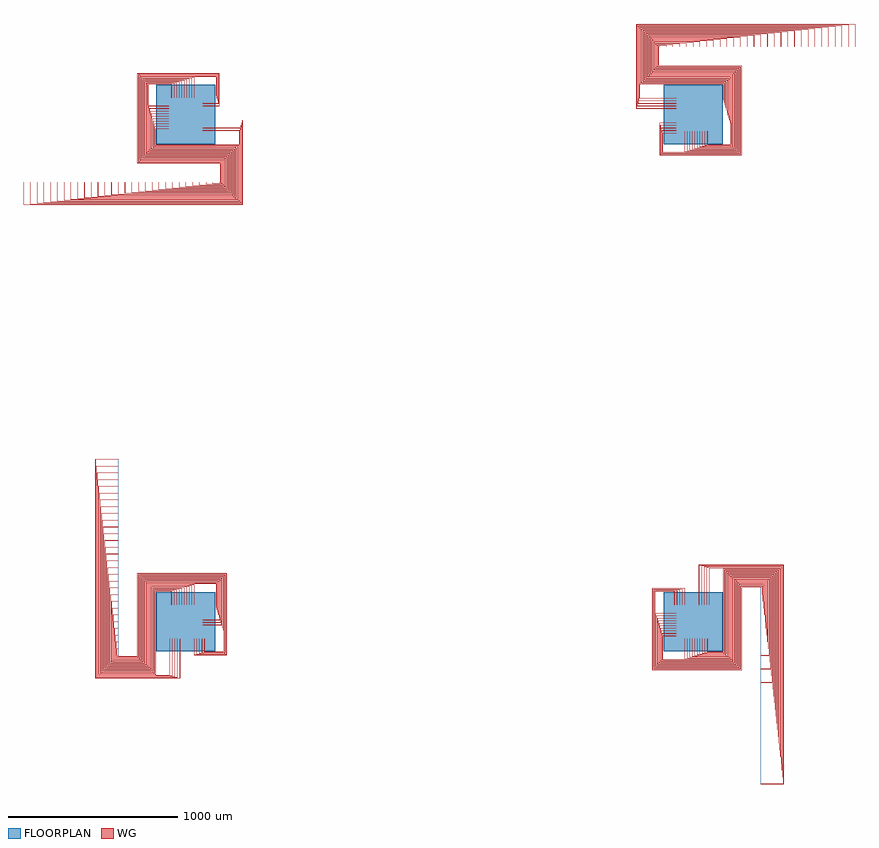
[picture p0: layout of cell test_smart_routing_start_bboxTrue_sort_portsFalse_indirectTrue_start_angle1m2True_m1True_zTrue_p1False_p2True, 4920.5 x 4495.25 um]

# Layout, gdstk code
import gdstk
lib = gdstk.Library(unit=1e-6, precision=1e-09)
def R(c, l, rs):  # rectangles x0, y0, x1, y1
    for r in rs: c.add(gdstk.rectangle(r[:2], r[2:], *l))
def P(c, l, *ps):  # polygons
    for p in ps: c.add(gdstk.Polygon(p, *l))
WG = (1, 0)
FLOORPLAN = (10, 0)

test_smart_routing_start = lib.new_cell('test_smart_routing_start_bboxTrue_sort_portsFalse_indirectTrue_start_angle1m2True_m1True_zTrue_p1False_p2True')
P(test_smart_routing_start, WG, [(2802.5,2757.5),(2802.5,2950.25),(2900,2950.25),(2900,2949.75),(2803,2949.75),(2803,2758),(3287,2758),(3287,3287),(2795.25,3287),(2795.25,3404.5),(2800.25,3404.5),(2800.25,3400),(2799.75,3400),(2799.75,3404),(2795.75,3404),(2795.75,3287.5),(3287.5,3287.5),(3287.5,2757.5)],
  [(2807,2762),(2807,2935.25),(2900,2935.25),(2900,2934.75),(2807.5,2934.75),(2807.5,2762.5),(3282.5,2762.5),(3282.5,3282.5),(2790.75,3282.5),(2790.75,3409),(2840.25,3409),(2840.25,3400),(2839.75,3400),(2839.75,3408.5),(2791.25,3408.5),(2791.25,3283),(3283,3283),(3283,2762)],
  [(2811.5,2766.5),(2811.5,2920.25),(2900,2920.25),(2900,2919.75),(2812,2919.75),(2812,2767),(3278,2767),(3278,3278),(2786.25,3278),(2786.25,3413.5),(2880.25,3413.5),(2880.25,3400),(2879.75,3400),(2879.75,3413),(2786.75,3413),(2786.75,3278.5),(3278.5,3278.5),(3278.5,2766.5)],
  [(2816,2771),(2816,2905.25),(2900,2905.25),(2900,2904.75),(2816.5,2904.75),(2816.5,2771.5),(3273.5,2771.5),(3273.5,3273.5),(2781.75,3273.5),(2781.75,3418),(2920.25,3418),(2920.25,3400),(2919.75,3400),(2919.75,3417.5),(2782.25,3417.5),(2782.25,3274),(3274,3274),(3274,2771)],
  [(2820.5,2775.5),(2820.5,2890.25),(2900,2890.25),(2900,2889.75),(2821,2889.75),(2821,2776),(3269,2776),(3269,3269),(2777.25,3269),(2777.25,3422.5),(2960.25,3422.5),(2960.25,3400),(2959.75,3400),(2959.75,3422),(2777.75,3422),(2777.75,3269.5),(3269.5,3269.5),(3269.5,2775.5)],
  [(2949.75,2780),(2949.75,2900),(2950.25,2900),(2950.25,2780.5),(3264.5,2780.5),(3264.5,3264.5),(2772.75,3264.5),(2772.75,3427),(3000.25,3427),(3000.25,3400),(2999.75,3400),(2999.75,3426.5),(2773.25,3426.5),(2773.25,3265),(3265,3265),(3265,2780)],
  [(2964.75,2784.5),(2964.75,2900),(2965.25,2900),(2965.25,2785),(3260,2785),(3260,3260),(2768.25,3260),(2768.25,3431.5),(3040.25,3431.5),(3040.25,3400),(3039.75,3400),(3039.75,3431),(2768.75,3431),(2768.75,3260.5),(3260.5,3260.5),(3260.5,2784.5)],
  [(2979.75,2789),(2979.75,2900),(2980.25,2900),(2980.25,2789.5),(3255.5,2789.5),(3255.5,3255.5),(2763.75,3255.5),(2763.75,3436),(3080.25,3436),(3080.25,3400),(3079.75,3400),(3079.75,3435.5),(2764.25,3435.5),(2764.25,3256),(3256,3256),(3256,2789)],
  [(2994.75,2793.5),(2994.75,2900),(2995.25,2900),(2995.25,2794),(3251,2794),(3251,3251),(2759.25,3251),(2759.25,3440.5),(3120.25,3440.5),(3120.25,3400),(3119.75,3400),(3119.75,3440),(2759.75,3440),(2759.75,3251.5),(3251.5,3251.5),(3251.5,2793.5)],
  [(3009.75,2798),(3009.75,2900),(3010.25,2900),(3010.25,2798.5),(3246.5,2798.5),(3246.5,3246.5),(2754.75,3246.5),(2754.75,3445),(3160.25,3445),(3160.25,3400),(3159.75,3400),(3159.75,3444.5),(2755.25,3444.5),(2755.25,3247),(3247,3247),(3247,2798)],
  [(3024.75,2802.5),(3024.75,2900),(3025.25,2900),(3025.25,2803),(3242,2803),(3242,3242),(2750.25,3242),(2750.25,3449.5),(3200.25,3449.5),(3200.25,3400),(3199.75,3400),(3199.75,3449),(2750.75,3449),(2750.75,3242.5),(3242.5,3242.5),(3242.5,2802.5)],
  [(3039.75,2807),(3039.75,2900),(3040.25,2900),(3040.25,2807.5),(3237.5,2807.5),(3237.5,3237.5),(2745.75,3237.5),(2745.75,3454),(3240.25,3454),(3240.25,3400),(3239.75,3400),(3239.75,3453.5),(2746.25,3453.5),(2746.25,3238),(3238,3238),(3238,2807)],
  [(3054.75,2811.5),(3054.75,2900),(3055.25,2900),(3055.25,2812),(3233,2812),(3233,3233),(2741.25,3233),(2741.25,3458.5),(3280.25,3458.5),(3280.25,3400),(3279.75,3400),(3279.75,3458),(2741.75,3458),(2741.75,3233.5),(3233.5,3233.5),(3233.5,2811.5)],
  [(3069.75,2816),(3069.75,2900),(3070.25,2900),(3070.25,2816.5),(3228.5,2816.5),(3228.5,3228.5),(2736.75,3228.5),(2736.75,3463),(3320.25,3463),(3320.25,3400),(3319.75,3400),(3319.75,3462.5),(2737.25,3462.5),(2737.25,3229),(3229,3229),(3229,2816)],
  [(3084.75,2820.5),(3084.75,2900),(3085.25,2900),(3085.25,2821),(3224,2821),(3224,3224),(2732.25,3224),(2732.25,3467.5),(3360.25,3467.5),(3360.25,3400),(3359.75,3400),(3359.75,3467),(2732.75,3467),(2732.75,3224.5),(3224.5,3224.5),(3224.5,2820.5)],
  [(3100,2949.75),(3100,2950.25),(3219.5,2950.25),(3219.5,3219.5),(2727.75,3219.5),(2727.75,3472),(3400.25,3472),(3400.25,3400),(3399.75,3400),(3399.75,3471.5),(2728.25,3471.5),(2728.25,3220),(3220,3220),(3220,2949.75)],
  [(3100,2964.75),(3100,2965.25),(3215,2965.25),(3215,3215),(2723.25,3215),(2723.25,3476.5),(3440.25,3476.5),(3440.25,3400),(3439.75,3400),(3439.75,3476),(2723.75,3476),(2723.75,3215.5),(3215.5,3215.5),(3215.5,2964.75)],
  [(3100,2979.75),(3100,2980.25),(3210.5,2980.25),(3210.5,3210.5),(2718.75,3210.5),(2718.75,3481),(3480.25,3481),(3480.25,3400),(3479.75,3400),(3479.75,3480.5),(2719.25,3480.5),(2719.25,3211),(3211,3211),(3211,2979.75)],
  [(3100,2994.75),(3100,2995.25),(3206,2995.25),(3206,3206),(2714.25,3206),(2714.25,3485.5),(3520.25,3485.5),(3520.25,3400),(3519.75,3400),(3519.75,3485),(2714.75,3485),(2714.75,3206.5),(3206.5,3206.5),(3206.5,2994.75)],
  [(3100,3009.75),(3100,3010.25),(3201.5,3010.25),(3201.5,3201.5),(2709.75,3201.5),(2709.75,3490),(3560.25,3490),(3560.25,3400),(3559.75,3400),(3559.75,3489.5),(2710.25,3489.5),(2710.25,3202),(3202,3202),(3202,3009.75)],
  [(3100,3024.75),(3100,3025.25),(3197,3025.25),(3197,3197),(2705.25,3197),(2705.25,3494.5),(3600.25,3494.5),(3600.25,3400),(3599.75,3400),(3599.75,3494),(2705.75,3494),(2705.75,3197.5),(3197.5,3197.5),(3197.5,3024.75)],
  [(3100,3039.75),(3100,3040.25),(3192.5,3040.25),(3192.5,3192.5),(2700.75,3192.5),(2700.75,3499),(3640.25,3499),(3640.25,3400),(3639.75,3400),(3639.75,3498.5),(2701.25,3498.5),(2701.25,3193),(3193,3193),(3193,3039.75)],
  [(3100,3054.75),(3100,3055.25),(3188,3055.25),(3188,3188),(2696.25,3188),(2696.25,3503.5),(3680.25,3503.5),(3680.25,3400),(3679.75,3400),(3679.75,3503),(2696.75,3503),(2696.75,3188.5),(3188.5,3188.5),(3188.5,3054.75)],
  [(3100,3069.75),(3100,3070.25),(3183.5,3070.25),(3183.5,3183.5),(2691.75,3183.5),(2691.75,3508),(3720.25,3508),(3720.25,3400),(3719.75,3400),(3719.75,3507.5),(2692.25,3507.5),(2692.25,3184),(3184,3184),(3184,3069.75)],
  [(3100,3084.75),(3100,3085.25),(3179,3085.25),(3179,3179),(2687.25,3179),(2687.25,3512.5),(3760.25,3512.5),(3760.25,3400),(3759.75,3400),(3759.75,3512),(2687.75,3512),(2687.75,3179.5),(3179.5,3179.5),(3179.5,3084.75)],
  [(2664.75,3034.75),(2664.75,3535),(3960.25,3535),(3960.25,3400),(3959.75,3400),(3959.75,3534.5),(2665.25,3534.5),(2665.25,3035.25),(2900,3035.25),(2900,3034.75)],
  [(2669.25,3049.75),(2669.25,3530.5),(3920.25,3530.5),(3920.25,3400),(3919.75,3400),(3919.75,3530),(2669.75,3530),(2669.75,3050.25),(2900,3050.25),(2900,3049.75)],
  [(2673.75,3064.75),(2673.75,3526),(3880.25,3526),(3880.25,3400),(3879.75,3400),(3879.75,3525.5),(2674.25,3525.5),(2674.25,3065.25),(2900,3065.25),(2900,3064.75)],
  [(2678.25,3079.75),(2678.25,3521.5),(3840.25,3521.5),(3840.25,3400),(3839.75,3400),(3839.75,3521),(2678.75,3521),(2678.75,3080.25),(2900,3080.25),(2900,3079.75)],
  [(2682.75,3094.75),(2682.75,3517),(3800.25,3517),(3800.25,3400),(3799.75,3400),(3799.75,3516.5),(2683.25,3516.5),(2683.25,3095.25),(2900,3095.25),(2900,3094.75)],
  [(199.75,2595.5),(199.75,2600),(200.25,2600),(200.25,2596),(204.25,2596),(204.25,2712.5),(-287.5,2712.5),(-287.5,3242.5),(197.5,3242.5),(197.5,3049.75),(100,3049.75),(100,3050.25),(197,3050.25),(197,3242),(-287,3242),(-287,2713),(204.75,2713),(204.75,2595.5)],
  [(159.75,2591),(159.75,2600),(160.25,2600),(160.25,2591.5),(208.75,2591.5),(208.75,2717),(-283,2717),(-283,3238),(193,3238),(193,3064.75),(100,3064.75),(100,3065.25),(192.5,3065.25),(192.5,3237.5),(-282.5,3237.5),(-282.5,2717.5),(209.25,2717.5),(209.25,2591)],
  [(119.75,2586.5),(119.75,2600),(120.25,2600),(120.25,2587),(213.25,2587),(213.25,2721.5),(-278.5,2721.5),(-278.5,3233.5),(188.5,3233.5),(188.5,3079.75),(100,3079.75),(100,3080.25),(188,3080.25),(188,3233),(-278,3233),(-278,2722),(213.75,2722),(213.75,2586.5)],
  [(79.75,2582),(79.75,2600),(80.25,2600),(80.25,2582.5),(217.75,2582.5),(217.75,2726),(-274,2726),(-274,3229),(184,3229),(184,3094.75),(100,3094.75),(100,3095.25),(183.5,3095.25),(183.5,3228.5),(-273.5,3228.5),(-273.5,2726.5),(218.25,2726.5),(218.25,2582)],
  [(39.75,2577.5),(39.75,2600),(40.25,2600),(40.25,2578),(222.25,2578),(222.25,2730.5),(-269.5,2730.5),(-269.5,3224.5),(179.5,3224.5),(179.5,3109.75),(100,3109.75),(100,3110.25),(179,3110.25),(179,3224),(-269,3224),(-269,2731),(222.75,2731),(222.75,2577.5)],
  [(-0.25,2573),(-0.25,2600),(0.25,2600),(0.25,2573.5),(226.75,2573.5),(226.75,2735),(-265,2735),(-265,3220),(50.25,3220),(50.25,3100),(49.75,3100),(49.75,3219.5),(-264.5,3219.5),(-264.5,2735.5),(227.25,2735.5),(227.25,2573)],
  [(-40.25,2568.5),(-40.25,2600),(-39.75,2600),(-39.75,2569),(231.25,2569),(231.25,2739.5),(-260.5,2739.5),(-260.5,3215.5),(35.25,3215.5),(35.25,3100),(34.75,3100),(34.75,3215),(-260,3215),(-260,2740),(231.75,2740),(231.75,2568.5)],
  [(-80.25,2564),(-80.25,2600),(-79.75,2600),(-79.75,2564.5),(235.75,2564.5),(235.75,2744),(-256,2744),(-256,3211),(20.25,3211),(20.25,3100),(19.75,3100),(19.75,3210.5),(-255.5,3210.5),(-255.5,2744.5),(236.25,2744.5),(236.25,2564)],
  [(-120.25,2559.5),(-120.25,2600),(-119.75,2600),(-119.75,2560),(240.25,2560),(240.25,2748.5),(-251.5,2748.5),(-251.5,3206.5),(5.25,3206.5),(5.25,3100),(4.75,3100),(4.75,3206),(-251,3206),(-251,2749),(240.75,2749),(240.75,2559.5)],
  [(-160.25,2555),(-160.25,2600),(-159.75,2600),(-159.75,2555.5),(244.75,2555.5),(244.75,2753),(-247,2753),(-247,3202),(-9.75,3202),(-9.75,3100),(-10.25,3100),(-10.25,3201.5),(-246.5,3201.5),(-246.5,2753.5),(245.25,2753.5),(245.25,2555)],
  [(-200.25,2550.5),(-200.25,2600),(-199.75,2600),(-199.75,2551),(249.25,2551),(249.25,2757.5),(-242.5,2757.5),(-242.5,3197.5),(-24.75,3197.5),(-24.75,3100),(-25.25,3100),(-25.25,3197),(-242,3197),(-242,2758),(249.75,2758),(249.75,2550.5)],
  [(-240.25,2546),(-240.25,2600),(-239.75,2600),(-239.75,2546.5),(253.75,2546.5),(253.75,2762),(-238,2762),(-238,3193),(-39.75,3193),(-39.75,3100),(-40.25,3100),(-40.25,3192.5),(-237.5,3192.5),(-237.5,2762.5),(254.25,2762.5),(254.25,2546)],
  [(-280.25,2541.5),(-280.25,2600),(-279.75,2600),(-279.75,2542),(258.25,2542),(258.25,2766.5),(-233.5,2766.5),(-233.5,3188.5),(-54.75,3188.5),(-54.75,3100),(-55.25,3100),(-55.25,3188),(-233,3188),(-233,2767),(258.75,2767),(258.75,2541.5)],
  [(-320.25,2537),(-320.25,2600),(-319.75,2600),(-319.75,2537.5),(262.75,2537.5),(262.75,2771),(-229,2771),(-229,3184),(-69.75,3184),(-69.75,3100),(-70.25,3100),(-70.25,3183.5),(-228.5,3183.5),(-228.5,2771.5),(263.25,2771.5),(263.25,2537)],
  [(-360.25,2532.5),(-360.25,2600),(-359.75,2600),(-359.75,2533),(267.25,2533),(267.25,2775.5),(-224.5,2775.5),(-224.5,3179.5),(-84.75,3179.5),(-84.75,3100),(-85.25,3100),(-85.25,3179),(-224,3179),(-224,2776),(267.75,2776),(267.75,2532.5)],
  [(-400.25,2528),(-400.25,2600),(-399.75,2600),(-399.75,2528.5),(271.75,2528.5),(271.75,2780),(-220,2780),(-220,3050.25),(-100,3050.25),(-100,3049.75),(-219.5,3049.75),(-219.5,2780.5),(272.25,2780.5),(272.25,2528)],
  [(-440.25,2523.5),(-440.25,2600),(-439.75,2600),(-439.75,2524),(276.25,2524),(276.25,2784.5),(-215.5,2784.5),(-215.5,3035.25),(-100,3035.25),(-100,3034.75),(-215,3034.75),(-215,2785),(276.75,2785),(276.75,2523.5)],
  [(-480.25,2519),(-480.25,2600),(-479.75,2600),(-479.75,2519.5),(280.75,2519.5),(280.75,2789),(-211,2789),(-211,3020.25),(-100,3020.25),(-100,3019.75),(-210.5,3019.75),(-210.5,2789.5),(281.25,2789.5),(281.25,2519)],
  [(-520.25,2514.5),(-520.25,2600),(-519.75,2600),(-519.75,2515),(285.25,2515),(285.25,2793.5),(-206.5,2793.5),(-206.5,3005.25),(-100,3005.25),(-100,3004.75),(-206,3004.75),(-206,2794),(285.75,2794),(285.75,2514.5)],
  [(-560.25,2510),(-560.25,2600),(-559.75,2600),(-559.75,2510.5),(289.75,2510.5),(289.75,2798),(-202,2798),(-202,2990.25),(-100,2990.25),(-100,2989.75),(-201.5,2989.75),(-201.5,2798.5),(290.25,2798.5),(290.25,2510)],
  [(-600.25,2505.5),(-600.25,2600),(-599.75,2600),(-599.75,2506),(294.25,2506),(294.25,2802.5),(-197.5,2802.5),(-197.5,2975.25),(-100,2975.25),(-100,2974.75),(-197,2974.75),(-197,2803),(294.75,2803),(294.75,2505.5)],
  [(-640.25,2501),(-640.25,2600),(-639.75,2600),(-639.75,2501.5),(298.75,2501.5),(298.75,2807),(-193,2807),(-193,2960.25),(-100,2960.25),(-100,2959.75),(-192.5,2959.75),(-192.5,2807.5),(299.25,2807.5),(299.25,2501)],
  [(-680.25,2496.5),(-680.25,2600),(-679.75,2600),(-679.75,2497),(303.25,2497),(303.25,2811.5),(-188.5,2811.5),(-188.5,2945.25),(-100,2945.25),(-100,2944.75),(-188,2944.75),(-188,2812),(303.75,2812),(303.75,2496.5)],
  [(-720.25,2492),(-720.25,2600),(-719.75,2600),(-719.75,2492.5),(307.75,2492.5),(307.75,2816),(-184,2816),(-184,2930.25),(-100,2930.25),(-100,2929.75),(-183.5,2929.75),(-183.5,2816.5),(308.25,2816.5),(308.25,2492)],
  [(-760.25,2487.5),(-760.25,2600),(-759.75,2600),(-759.75,2488),(312.25,2488),(312.25,2820.5),(-179.5,2820.5),(-179.5,2915.25),(-100,2915.25),(-100,2914.75),(-179,2914.75),(-179,2821),(312.75,2821),(312.75,2487.5)],
  [(-960.25,2465),(-960.25,2600),(-959.75,2600),(-959.75,2465.5),(334.75,2465.5),(334.75,2964.75),(100,2964.75),(100,2965.25),(335.25,2965.25),(335.25,2465)],
  [(-920.25,2469.5),(-920.25,2600),(-919.75,2600),(-919.75,2470),(330.25,2470),(330.25,2949.75),(100,2949.75),(100,2950.25),(330.75,2950.25),(330.75,2469.5)],
  [(-880.25,2474),(-880.25,2600),(-879.75,2600),(-879.75,2474.5),(325.75,2474.5),(325.75,2934.75),(100,2934.75),(100,2935.25),(326.25,2935.25),(326.25,2474)],
  [(-840.25,2478.5),(-840.25,2600),(-839.75,2600),(-839.75,2479),(321.25,2479),(321.25,2919.75),(100,2919.75),(100,2920.25),(321.75,2920.25),(321.75,2478.5)],
  [(-800.25,2483),(-800.25,2600),(-799.75,2600),(-799.75,2483.5),(316.75,2483.5),(316.75,2904.75),(100,2904.75),(100,2905.25),(317.25,2905.25),(317.25,2483)],
  [(-404.5,-204.75),(-404.5,-199.75),(-400,-199.75),(-400,-200.25),(-404,-200.25),(-404,-204.25),(-287.5,-204.25),(-287.5,287.5),(242.5,287.5),(242.5,-197.5),(49.75,-197.5),(49.75,-100),(50.25,-100),(50.25,-197),(242,-197),(242,287),(-287,287),(-287,-204.75)],
  [(-409,-209.25),(-409,-159.75),(-400,-159.75),(-400,-160.25),(-408.5,-160.25),(-408.5,-208.75),(-283,-208.75),(-283,283),(238,283),(238,-193),(64.75,-193),(64.75,-100),(65.25,-100),(65.25,-192.5),(237.5,-192.5),(237.5,282.5),(-282.5,282.5),(-282.5,-209.25)],
  [(-413.5,-213.75),(-413.5,-119.75),(-400,-119.75),(-400,-120.25),(-413,-120.25),(-413,-213.25),(-278.5,-213.25),(-278.5,278.5),(233.5,278.5),(233.5,-188.5),(79.75,-188.5),(79.75,-100),(80.25,-100),(80.25,-188),(233,-188),(233,278),(-278,278),(-278,-213.75)],
  [(-418,-218.25),(-418,-79.75),(-400,-79.75),(-400,-80.25),(-417.5,-80.25),(-417.5,-217.75),(-274,-217.75),(-274,274),(229,274),(229,-184),(94.75,-184),(94.75,-100),(95.25,-100),(95.25,-183.5),(228.5,-183.5),(228.5,273.5),(-273.5,273.5),(-273.5,-218.25)],
  [(-422.5,-222.75),(-422.5,-39.75),(-400,-39.75),(-400,-40.25),(-422,-40.25),(-422,-222.25),(-269.5,-222.25),(-269.5,269.5),(224.5,269.5),(224.5,-179.5),(109.75,-179.5),(109.75,-100),(110.25,-100),(110.25,-179),(224,-179),(224,269),(-269,269),(-269,-222.75)],
  [(-427,-227.25),(-427,0.25),(-400,0.25),(-400,-0.25),(-426.5,-0.25),(-426.5,-226.75),(-265,-226.75),(-265,265),(220,265),(220,-50.25),(100,-50.25),(100,-49.75),(219.5,-49.75),(219.5,264.5),(-264.5,264.5),(-264.5,-227.25)],
  [(-431.5,-231.75),(-431.5,40.25),(-400,40.25),(-400,39.75),(-431,39.75),(-431,-231.25),(-260.5,-231.25),(-260.5,260.5),(215.5,260.5),(215.5,-35.25),(100,-35.25),(100,-34.75),(215,-34.75),(215,260),(-260,260),(-260,-231.75)],
  [(-436,-236.25),(-436,80.25),(-400,80.25),(-400,79.75),(-435.5,79.75),(-435.5,-235.75),(-256,-235.75),(-256,256),(211,256),(211,-20.25),(100,-20.25),(100,-19.75),(210.5,-19.75),(210.5,255.5),(-255.5,255.5),(-255.5,-236.25)],
  [(-440.5,-240.75),(-440.5,120.25),(-400,120.25),(-400,119.75),(-440,119.75),(-440,-240.25),(-251.5,-240.25),(-251.5,251.5),(206.5,251.5),(206.5,-5.25),(100,-5.25),(100,-4.75),(206,-4.75),(206,251),(-251,251),(-251,-240.75)],
  [(-445,-245.25),(-445,160.25),(-400,160.25),(-400,159.75),(-444.5,159.75),(-444.5,-244.75),(-247,-244.75),(-247,247),(202,247),(202,9.75),(100,9.75),(100,10.25),(201.5,10.25),(201.5,246.5),(-246.5,246.5),(-246.5,-245.25)],
  [(-449.5,-249.75),(-449.5,200.25),(-400,200.25),(-400,199.75),(-449,199.75),(-449,-249.25),(-242.5,-249.25),(-242.5,242.5),(197.5,242.5),(197.5,24.75),(100,24.75),(100,25.25),(197,25.25),(197,242),(-242,242),(-242,-249.75)],
  [(-454,-254.25),(-454,240.25),(-400,240.25),(-400,239.75),(-453.5,239.75),(-453.5,-253.75),(-238,-253.75),(-238,238),(193,238),(193,39.75),(100,39.75),(100,40.25),(192.5,40.25),(192.5,237.5),(-237.5,237.5),(-237.5,-254.25)],
  [(-458.5,-258.75),(-458.5,280.25),(-400,280.25),(-400,279.75),(-458,279.75),(-458,-258.25),(-233.5,-258.25),(-233.5,233.5),(188.5,233.5),(188.5,54.75),(100,54.75),(100,55.25),(188,55.25),(188,233),(-233,233),(-233,-258.75)],
  [(-463,-263.25),(-463,320.25),(-400,320.25),(-400,319.75),(-462.5,319.75),(-462.5,-262.75),(-229,-262.75),(-229,229),(184,229),(184,69.75),(100,69.75),(100,70.25),(183.5,70.25),(183.5,228.5),(-228.5,228.5),(-228.5,-263.25)],
  [(-467.5,-267.75),(-467.5,360.25),(-400,360.25),(-400,359.75),(-467,359.75),(-467,-267.25),(-224.5,-267.25),(-224.5,224.5),(179.5,224.5),(179.5,84.75),(100,84.75),(100,85.25),(179,85.25),(179,224),(-224,224),(-224,-267.75)],
  [(-472,-272.25),(-472,400.25),(-400,400.25),(-400,399.75),(-471.5,399.75),(-471.5,-271.75),(-220,-271.75),(-220,220),(50.25,220),(50.25,100),(49.75,100),(49.75,219.5),(-219.5,219.5),(-219.5,-272.25)],
  [(-476.5,-276.75),(-476.5,440.25),(-400,440.25),(-400,439.75),(-476,439.75),(-476,-276.25),(-215.5,-276.25),(-215.5,215.5),(35.25,215.5),(35.25,100),(34.75,100),(34.75,215),(-215,215),(-215,-276.75)],
  [(-481,-281.25),(-481,480.25),(-400,480.25),(-400,479.75),(-480.5,479.75),(-480.5,-280.75),(-211,-280.75),(-211,211),(20.25,211),(20.25,100),(19.75,100),(19.75,210.5),(-210.5,210.5),(-210.5,-281.25)],
  [(-485.5,-285.75),(-485.5,520.25),(-400,520.25),(-400,519.75),(-485,519.75),(-485,-285.25),(-206.5,-285.25),(-206.5,206.5),(5.25,206.5),(5.25,100),(4.75,100),(4.75,206),(-206,206),(-206,-285.75)],
  [(-490,-290.25),(-490,560.25),(-400,560.25),(-400,559.75),(-489.5,559.75),(-489.5,-289.75),(-202,-289.75),(-202,202),(-9.75,202),(-9.75,100),(-10.25,100),(-10.25,201.5),(-201.5,201.5),(-201.5,-290.25)],
  [(-494.5,-294.75),(-494.5,600.25),(-400,600.25),(-400,599.75),(-494,599.75),(-494,-294.25),(-197.5,-294.25),(-197.5,197.5),(-24.75,197.5),(-24.75,100),(-25.25,100),(-25.25,197),(-197,197),(-197,-294.75)],
  [(-499,-299.25),(-499,640.25),(-400,640.25),(-400,639.75),(-498.5,639.75),(-498.5,-298.75),(-193,-298.75),(-193,193),(-39.75,193),(-39.75,100),(-40.25,100),(-40.25,192.5),(-192.5,192.5),(-192.5,-299.25)],
  [(-503.5,-303.75),(-503.5,680.25),(-400,680.25),(-400,679.75),(-503,679.75),(-503,-303.25),(-188.5,-303.25),(-188.5,188.5),(-54.75,188.5),(-54.75,100),(-55.25,100),(-55.25,188),(-188,188),(-188,-303.75)],
  [(-508,-308.25),(-508,720.25),(-400,720.25),(-400,719.75),(-507.5,719.75),(-507.5,-307.75),(-184,-307.75),(-184,184),(-69.75,184),(-69.75,100),(-70.25,100),(-70.25,183.5),(-183.5,183.5),(-183.5,-308.25)],
  [(-512.5,-312.75),(-512.5,760.25),(-400,760.25),(-400,759.75),(-512,759.75),(-512,-312.25),(-179.5,-312.25),(-179.5,179.5),(-84.75,179.5),(-84.75,100),(-85.25,100),(-85.25,179),(-179,179),(-179,-312.75)],
  [(-535,-335.25),(-535,960.25),(-400,960.25),(-400,959.75),(-534.5,959.75),(-534.5,-334.75),(-35.25,-334.75),(-35.25,-100),(-34.75,-100),(-34.75,-335.25)],
  [(-530.5,-330.75),(-530.5,920.25),(-400,920.25),(-400,919.75),(-530,919.75),(-530,-330.25),(-50.25,-330.25),(-50.25,-100),(-49.75,-100),(-49.75,-330.75)],
  [(-526,-326.25),(-526,880.25),(-400,880.25),(-400,879.75),(-525.5,879.75),(-525.5,-325.75),(-65.25,-325.75),(-65.25,-100),(-64.75,-100),(-64.75,-326.25)],
  [(-521.5,-321.75),(-521.5,840.25),(-400,840.25),(-400,839.75),(-521,839.75),(-521,-321.25),(-80.25,-321.25),(-80.25,-100),(-79.75,-100),(-79.75,-321.75)],
  [(-517,-317.25),(-517,800.25),(-400,800.25),(-400,799.75),(-516.5,799.75),(-516.5,-316.75),(-95.25,-316.75),(-95.25,-100),(-94.75,-100),(-94.75,-317.25)],
  [(2757.5,-287.5),(2757.5,197.5),(2950.25,197.5),(2950.25,100),(2949.75,100),(2949.75,197),(2758,197),(2758,-287),(3287,-287),(3287,204.75),(3404.5,204.75),(3404.5,199.75),(3400,199.75),(3400,200.25),(3404,200.25),(3404,204.25),(3287.5,204.25),(3287.5,-287.5)],
  [(2762,-283),(2762,193),(2935.25,193),(2935.25,100),(2934.75,100),(2934.75,192.5),(2762.5,192.5),(2762.5,-282.5),(3282.5,-282.5),(3282.5,209.25),(3409,209.25),(3409,159.75),(3400,159.75),(3400,160.25),(3408.5,160.25),(3408.5,208.75),(3283,208.75),(3283,-283)],
  [(2766.5,-278.5),(2766.5,188.5),(2920.25,188.5),(2920.25,100),(2919.75,100),(2919.75,188),(2767,188),(2767,-278),(3278,-278),(3278,213.75),(3413.5,213.75),(3413.5,119.75),(3400,119.75),(3400,120.25),(3413,120.25),(3413,213.25),(3278.5,213.25),(3278.5,-278.5)],
  [(2771,-274),(2771,184),(2905.25,184),(2905.25,100),(2904.75,100),(2904.75,183.5),(2771.5,183.5),(2771.5,-273.5),(3273.5,-273.5),(3273.5,218.25),(3418,218.25),(3418,79.75),(3400,79.75),(3400,80.25),(3417.5,80.25),(3417.5,217.75),(3274,217.75),(3274,-274)],
  [(2775.5,-269.5),(2775.5,179.5),(2890.25,179.5),(2890.25,100),(2889.75,100),(2889.75,179),(2776,179),(2776,-269),(3269,-269),(3269,222.75),(3422.5,222.75),(3422.5,39.75),(3400,39.75),(3400,40.25),(3422,40.25),(3422,222.25),(3269.5,222.25),(3269.5,-269.5)],
  [(2780,-265),(2780,50.25),(2900,50.25),(2900,49.75),(2780.5,49.75),(2780.5,-264.5),(3264.5,-264.5),(3264.5,227.25),(3427,227.25),(3427,-0.25),(3400,-0.25),(3400,0.25),(3426.5,0.25),(3426.5,226.75),(3265,226.75),(3265,-265)],
  [(2784.5,-260.5),(2784.5,35.25),(2900,35.25),(2900,34.75),(2785,34.75),(2785,-260),(3260,-260),(3260,231.75),(3431.5,231.75),(3431.5,-40.25),(3400,-40.25),(3400,-39.75),(3431,-39.75),(3431,231.25),(3260.5,231.25),(3260.5,-260.5)],
  [(2789,-256),(2789,20.25),(2900,20.25),(2900,19.75),(2789.5,19.75),(2789.5,-255.5),(3255.5,-255.5),(3255.5,236.25),(3436,236.25),(3436,-80.25),(3400,-80.25),(3400,-79.75),(3435.5,-79.75),(3435.5,235.75),(3256,235.75),(3256,-256)],
  [(2793.5,-251.5),(2793.5,5.25),(2900,5.25),(2900,4.75),(2794,4.75),(2794,-251),(3251,-251),(3251,240.75),(3440.5,240.75),(3440.5,-120.25),(3400,-120.25),(3400,-119.75),(3440,-119.75),(3440,240.25),(3251.5,240.25),(3251.5,-251.5)],
  [(2798,-247),(2798,-9.75),(2900,-9.75),(2900,-10.25),(2798.5,-10.25),(2798.5,-246.5),(3246.5,-246.5),(3246.5,245.25),(3445,245.25),(3445,-160.25),(3400,-160.25),(3400,-159.75),(3444.5,-159.75),(3444.5,244.75),(3247,244.75),(3247,-247)],
  [(2802.5,-242.5),(2802.5,-24.75),(2900,-24.75),(2900,-25.25),(2803,-25.25),(2803,-242),(3242,-242),(3242,249.75),(3449.5,249.75),(3449.5,-200.25),(3400,-200.25),(3400,-199.75),(3449,-199.75),(3449,249.25),(3242.5,249.25),(3242.5,-242.5)],
  [(3400,-240.25),(3400,-239.75),(3453.5,-239.75),(3453.5,253.75),(3238,253.75),(3238,-238),(2807,-238),(2807,-39.75),(2900,-39.75),(2900,-40.25),(2807.5,-40.25),(2807.5,-237.5),(3237.5,-237.5),(3237.5,254.25),(3454,254.25),(3454,-240.25)],
  [(3400,-280.25),(3400,-279.75),(3458,-279.75),(3458,258.25),(3233.5,258.25),(3233.5,-233.5),(2811.5,-233.5),(2811.5,-54.75),(2900,-54.75),(2900,-55.25),(2812,-55.25),(2812,-233),(3233,-233),(3233,258.75),(3458.5,258.75),(3458.5,-280.25)],
  [(3400,-320.25),(3400,-319.75),(3462.5,-319.75),(3462.5,262.75),(3229,262.75),(3229,-229),(2816,-229),(2816,-69.75),(2900,-69.75),(2900,-70.25),(2816.5,-70.25),(2816.5,-228.5),(3228.5,-228.5),(3228.5,263.25),(3463,263.25),(3463,-320.25)],
  [(3400,-360.25),(3400,-359.75),(3467,-359.75),(3467,267.25),(3224.5,267.25),(3224.5,-224.5),(2820.5,-224.5),(2820.5,-84.75),(2900,-84.75),(2900,-85.25),(2821,-85.25),(2821,-224),(3224,-224),(3224,267.75),(3467.5,267.75),(3467.5,-360.25)],
  [(3400,-400.25),(3400,-399.75),(3471.5,-399.75),(3471.5,271.75),(3220,271.75),(3220,-220),(2949.75,-220),(2949.75,-100),(2950.25,-100),(2950.25,-219.5),(3219.5,-219.5),(3219.5,272.25),(3472,272.25),(3472,-400.25)],
  [(3400,-440.25),(3400,-439.75),(3476,-439.75),(3476,276.25),(3215.5,276.25),(3215.5,-215.5),(2964.75,-215.5),(2964.75,-100),(2965.25,-100),(2965.25,-215),(3215,-215),(3215,276.75),(3476.5,276.75),(3476.5,-440.25)],
  [(3400,-480.25),(3400,-479.75),(3480.5,-479.75),(3480.5,280.75),(3211,280.75),(3211,-211),(2979.75,-211),(2979.75,-100),(2980.25,-100),(2980.25,-210.5),(3210.5,-210.5),(3210.5,281.25),(3481,281.25),(3481,-480.25)],
  [(3400,-520.25),(3400,-519.75),(3485,-519.75),(3485,285.25),(3206.5,285.25),(3206.5,-206.5),(2994.75,-206.5),(2994.75,-100),(2995.25,-100),(2995.25,-206),(3206,-206),(3206,285.75),(3485.5,285.75),(3485.5,-520.25)],
  [(3400,-560.25),(3400,-559.75),(3489.5,-559.75),(3489.5,289.75),(3202,289.75),(3202,-202),(3009.75,-202),(3009.75,-100),(3010.25,-100),(3010.25,-201.5),(3201.5,-201.5),(3201.5,290.25),(3490,290.25),(3490,-560.25)],
  [(3400,-600.25),(3400,-599.75),(3494,-599.75),(3494,294.25),(3197.5,294.25),(3197.5,-197.5),(3024.75,-197.5),(3024.75,-100),(3025.25,-100),(3025.25,-197),(3197,-197),(3197,294.75),(3494.5,294.75),(3494.5,-600.25)],
  [(3400,-640.25),(3400,-639.75),(3498.5,-639.75),(3498.5,298.75),(3193,298.75),(3193,-193),(3039.75,-193),(3039.75,-100),(3040.25,-100),(3040.25,-192.5),(3192.5,-192.5),(3192.5,299.25),(3499,299.25),(3499,-640.25)],
  [(3400,-680.25),(3400,-679.75),(3503,-679.75),(3503,303.25),(3188.5,303.25),(3188.5,-188.5),(3054.75,-188.5),(3054.75,-100),(3055.25,-100),(3055.25,-188),(3188,-188),(3188,303.75),(3503.5,303.75),(3503.5,-680.25)],
  [(3400,-720.25),(3400,-719.75),(3507.5,-719.75),(3507.5,307.75),(3184,307.75),(3184,-184),(3069.75,-184),(3069.75,-100),(3070.25,-100),(3070.25,-183.5),(3183.5,-183.5),(3183.5,308.25),(3508,308.25),(3508,-720.25)],
  [(3400,-760.25),(3400,-759.75),(3512,-759.75),(3512,312.25),(3179.5,312.25),(3179.5,-179.5),(3084.75,-179.5),(3084.75,-100),(3085.25,-100),(3085.25,-179),(3179,-179),(3179,312.75),(3512.5,312.75),(3512.5,-760.25)],
  [(3400,-960.25),(3400,-959.75),(3534.5,-959.75),(3534.5,334.75),(3035.25,334.75),(3035.25,100),(3034.75,100),(3034.75,335.25),(3535,335.25),(3535,-960.25)],
  [(3400,-920.25),(3400,-919.75),(3530,-919.75),(3530,330.25),(3050.25,330.25),(3050.25,100),(3049.75,100),(3049.75,330.75),(3530.5,330.75),(3530.5,-920.25)],
  [(3400,-880.25),(3400,-879.75),(3525.5,-879.75),(3525.5,325.75),(3065.25,325.75),(3065.25,100),(3064.75,100),(3064.75,326.25),(3526,326.25),(3526,-880.25)],
  [(3400,-840.25),(3400,-839.75),(3521,-839.75),(3521,321.25),(3080.25,321.25),(3080.25,100),(3079.75,100),(3079.75,321.75),(3521.5,321.75),(3521.5,-840.25)],
  [(3400,-800.25),(3400,-799.75),(3516.5,-799.75),(3516.5,316.75),(3095.25,316.75),(3095.25,100),(3094.75,100),(3094.75,317.25),(3517,317.25),(3517,-800.25)])
R(test_smart_routing_start, FLOORPLAN, [(-175,-175,175,175), (2825,-175,3175,175), (-175,2825,175,3175), (2825,2825,3175,3175)])
P(test_smart_routing_start, FLOORPLAN, [(-400,-200),(-400,960),(-400,960),(-400,-200)],
  [(-960,2600),(-960,2600),(200,2600),(200,2600)],
  [(3400,-960),(3400,200),(3400,200),(3400,-960)],
  [(2800,3400),(2800,3400),(3960,3400),(3960,3400)])

lib.write_gds('test_smart_routing_start_bboxTrue_sort_portsFalse_indirectTrue_start_angle1m2True_m1True_zTrue_p1False_p2True.gds')
